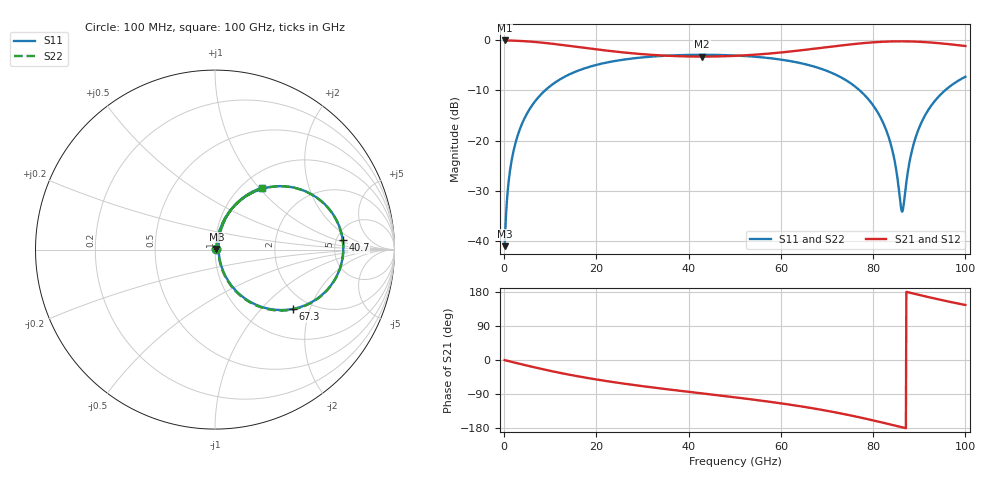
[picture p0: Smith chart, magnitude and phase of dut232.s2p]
! Touchstone file exported from HFSS 2026.1.0
!  File:  C:/ffzhzh/LocalFiles/Ansys_Project_Files/temp_train_RDL_232_1783501180_41296.aedt
!  Generated:  05:01:26 PM Jul  8, 2026
!  Design:  RDL
!  Project:  temp_train_RDL_232_1783501180_41296
! Variables:
!  h_bsmrdl = 2um
!  h_ox = 20um
!  h_rdl = 5um
!  h_sub = 80um
!  h_tmrdl = 2.41um
!  h_tsv = 80um
!  h_via = 3um
!  l_bsmrdl = 300um
!  l_sub = 1088.55um
!  l_tmrdl = 688.55um
!  m_sub = 200um
!  pitch = 49.06um
!  r_tsv = 6um
!  s_tmrdl = 10um
!  w_bsmrdl = 18um
!  w_sub = 500um
!  w_tmrdl = 12.66um
!  x_tsv_center1 = 694.88um
!  x_tsv_center2 = 1012.88um
!  x_tsv_center3 = 1714.09um
!  x_tsv_center4 = 2032.09um
!  x_tsv_center5 = 2733.3um
!  x_tsv_center6 = 3051.3um
# GHz S MA R 50.000000
! Terminal data exported
! Port[1] = TM_RDL1_1_T1
! Port[2] = TM_RDL1_1_T2
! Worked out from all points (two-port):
!   1000 points, 100 MHz to 100 GHz, reference 50 ohm
!   highest |S21| = -0.07 dB at 100 MHz (marker M1); lowest = -3.3 dB at 42.9 GHz (marker M2)
!   |S21| within 3 dB of the highest: start of sweep to 34.5 GHz; 51.34 GHz to end of sweep
!   lowest |S11| = -40.9 dB at 100 MHz (marker M3), VSWR 1.02, Z = 50.8 + j0.407 ohm
!   |S11| at or under -10 dB: start of sweep to 8.873 GHz; 77.1 GHz to 95.58 GHz (18.48 GHz wide, 21.4 % of centre)
!   |S22| runs from -40.9 to -2.9 dB; largest |S21 - S12| = 1.7e-14
!   S11 on the Smith chart (normalised r, x): 100 MHz: 1.02, +0.01; 40.7 GHz: 5.70, +1.26; 67.3 GHz: 1.63, -1.53; 100 GHz: 1.23, +1.04
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0.1  0.008971 26.5  0.992 -0.3  0.992 -0.3  0.008971 26.5
! Gamma 0 0 0 0
! Port Impedance 50 0 50 0
0.9  0.03656 73.2  0.9905 -2.8  0.9905 -2.8  0.03656 73.2
1.6  0.06284 76.6  0.9887 -4.9  0.9887 -4.9  0.06285 76.6
2.7  0.1041 76.5  0.9848 -8.1  0.9848 -8.1  0.1041 76.4
4.3  0.1629 73.5  0.9764 -12.8  0.9764 -12.8  0.1629 73.5
9.2  0.3261 61.4  0.9332 -26.5  0.9332 -26.5  0.3261 61.3
16.8  0.512 43.7  0.8446 -44.8  0.8446 -44.8  0.512 43.6
33.4  0.6929 14.8  0.7069 -74.3  0.7069 -74.3  0.693 14.6
40.7  0.7137 4.3  0.687 -85.0  0.687 -85.0  0.7137 4.1
42.9  0.7149 1.3  0.6859 -88.1  0.6859 -88.1  0.7149 1.0
50.1  0.7031 -8.9  0.6978 -98.6  0.6978 -98.6  0.7031 -9.2
66.7  0.5542 -36.3  0.8154 -127.0  0.8154 -127.0  0.5542 -36.7
67.3  0.5442 -37.4  0.8217 -128.2  0.8217 -128.2  0.5443 -37.9
77.6  0.3011 -59.9  0.9309 -152.8  0.9309 -152.8  0.3011 -60.5
81  0.1911 -67.0  0.957 -162.2  0.957 -162.2  0.191 -67.8
83.4  0.1074 -69.1  0.9684 -169.1  0.9684 -169.1  0.1072 -70.2
84.6  0.06514 -65.5  0.9715 -172.6  0.9715 -172.6  0.06481 -67.1
86.3  0.01974 2.5  0.9727 -177.6  0.9727 -177.6  0.0184 1.9
88.4  0.07935 71.5  0.969 176.3  0.969 176.3  0.07897 72.0
90.7  0.1598 72.3  0.9588 169.6  0.9588 169.6  0.1596 72.3
94.6  0.2871 64.8  0.9291 158.8  0.9291 158.8  0.2869 64.6
100  0.4326 52.7  0.873 145.2  0.873 145.2  0.4325 52.4
